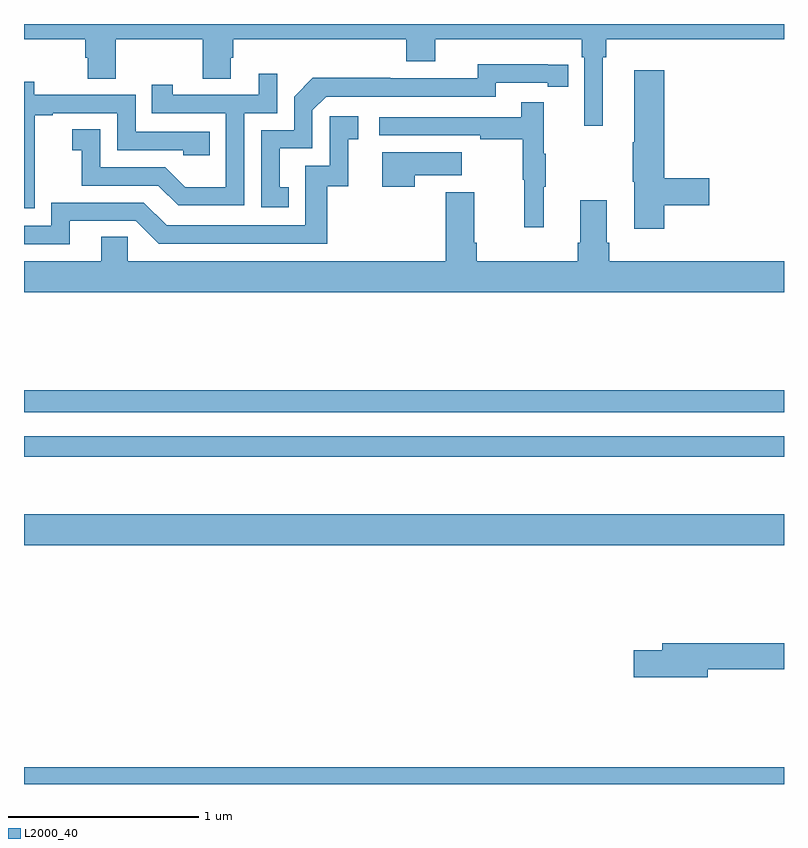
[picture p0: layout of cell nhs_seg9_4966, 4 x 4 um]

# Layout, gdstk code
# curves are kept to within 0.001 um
import gdstk
lib = gdstk.Library(unit=1e-6, precision=1e-09)
def R(c, l, rs):  # rectangles x0, y0, x1, y1
    for r in rs: c.add(gdstk.rectangle(r[:2], r[2:], *l))
def P(c, l, *ps):  # polygons
    for p in ps: c.add(gdstk.Polygon(p, *l))
L2000_40 = (2000, 40)

nhs_seg9_4966 = lib.new_cell('nhs_seg9_4966')
R(nhs_seg9_4966, L2000_40, [(399,1192.5,403,1192.588), (399,1193.756,403,1193.92), (399,1194.222,403,1194.33), (399,1194.456,403,1194.572)])
P(nhs_seg9_4966, L2000_40, [(402.046,1196.324),(402.065,1196.324),(402.065,1196.42),(403,1196.42),(403,1196.5),(399,1196.5),(399,1196.42),(399.323,1196.42),(399.323,1196.322),(399.335,1196.322),(399.335,1196.212),(399.483,1196.212),(399.483,1196.42),(399.94,1196.42),(399.94,1196.212),(400.087,1196.212),(400.087,1196.322),(400.1,1196.322),(400.1,1196.42),(401.012,1196.42),(401.012,1196.303),(401.164,1196.303),(401.164,1196.42),(401.936,1196.42),(401.936,1196.324),(401.949,1196.324),(401.949,1195.965),(402.046,1195.965)],
  [(400.394,1195.641),(400.345,1195.641),(400.345,1195.845),(400.518,1195.845),(400.518,1196.046),(400.59,1196.118),(401.484,1196.118),(401.484,1196.19),(401.756,1196.19),(401.756,1196.17),(401.864,1196.17),(401.864,1196.286),(401.388,1196.287),(401.388,1196.214),(400.928,1196.214),(400.928,1196.216),(400.52,1196.216),(400.422,1196.118),(400.422,1195.941),(400.248,1195.941),(400.248,1195.536),(400.394,1195.536)],
  [(402.371,1195.546),(402.607,1195.546),(402.607,1195.688),(402.371,1195.688),(402.371,1196.257),(402.212,1196.257),(402.212,1195.877),(402.205,1195.877),(402.205,1195.671),(402.212,1195.671),(402.212,1195.422),(402.371,1195.422)],
  [(400.158,1196.031),(400.332,1196.031),(400.332,1196.239),(400.235,1196.239),(400.235,1196.127),(399.784,1196.127),(399.784,1196.179),(399.673,1196.179),(399.673,1196.031),(400.062,1196.031),(400.062,1195.642),(399.848,1195.642),(399.744,1195.746),(399.402,1195.746),(399.402,1195.945),(399.255,1195.945),(399.255,1195.835),(399.304,1195.835),(399.304,1195.65),(399.707,1195.65),(399.812,1195.545),(400.158,1195.545)],
  [(399.057,1195.735),(399.056,1195.735),(399.056,1196.019),(399.151,1196.019),(399.151,1196.031),(399.492,1196.031),(399.492,1195.836),(399.837,1195.836),(399.837,1195.809),(399.977,1195.809),(399.977,1195.932),(399.588,1195.932),(399.588,1196.127),(399.054,1196.127),(399.054,1196.196),(399,1196.196),(399,1195.529),(399.057,1195.529)],
  [(401.735,1195.643),(401.746,1195.643),(401.746,1195.817),(401.735,1195.817),(401.735,1196.089),(401.617,1196.089),(401.617,1196.01),(400.869,1196.01),(400.869,1195.914),(401.401,1195.914),(401.401,1195.894),(401.625,1195.894),(401.625,1195.68),(401.632,1195.68),(401.632,1195.431),(401.735,1195.431)],
  [(399.241,1195.464),(399.588,1195.464),(399.708,1195.344),(400.595,1195.344),(400.595,1195.647),(400.706,1195.647),(400.706,1195.893),(400.759,1195.893),(400.759,1196.014),(400.608,1196.014),(400.608,1195.755),(400.479,1195.755),(400.479,1195.44),(399.75,1195.44),(399.63,1195.56),(399.144,1195.56),(399.144,1195.437),(399,1195.437),(399,1195.341),(399.241,1195.341)],
  [(401.057,1195.703),(401.305,1195.703),(401.305,1195.825),(400.886,1195.825),(400.886,1195.644),(401.057,1195.644)],
  [(403,1195.252),(402.08,1195.252),(402.08,1195.348),(402.067,1195.348),(402.067,1195.573),(401.927,1195.573),(401.927,1195.348),(401.915,1195.348),(401.915,1195.252),(401.384,1195.252),(401.384,1195.348),(401.371,1195.348),(401.371,1195.615),(401.219,1195.615),(401.219,1195.252),(399.546,1195.252),(399.546,1195.379),(399.407,1195.379),(399.407,1195.252),(399,1195.252),(399,1195.088),(403,1195.088)],
  [(402.598,1193.104),(403,1193.104),(403,1193.24),(402.359,1193.24),(402.359,1193.204),(402.21,1193.204),(402.21,1193.062),(402.598,1193.062)])

lib.write_gds('nhs_seg9_4966.gds')
